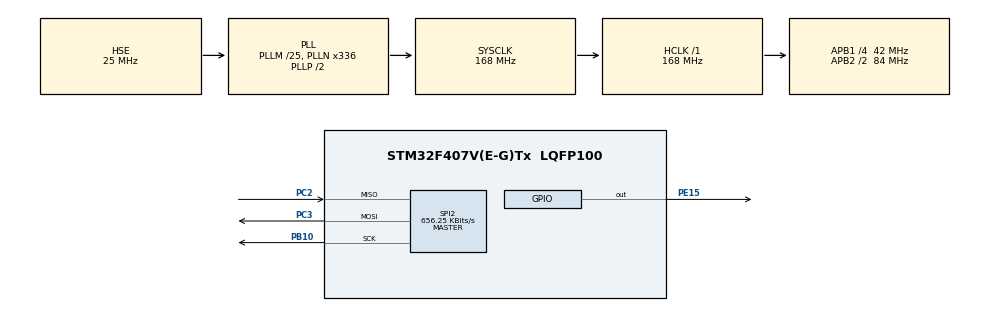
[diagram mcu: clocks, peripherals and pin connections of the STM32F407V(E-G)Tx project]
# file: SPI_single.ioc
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Mcu.Family=STM32F4
Mcu.Name=STM32F407V(E-G)Tx
Mcu.Package=LQFP100
NVIC.PriorityGroup=NVIC_PRIORITYGROUP_4
PB10.Mode=Full_Duplex_Master
PB10.Signal=SPI2_SCK
PC2.Mode=Full_Duplex_Master
PC2.Signal=SPI2_MISO
PC3.Mode=Full_Duplex_Master
PC3.Signal=SPI2_MOSI
PE15.PinState=GPIO_PIN_SET
PE15.Signal=GPIO_Output
PH0-OSC_IN.Mode=HSE-External-Oscillator
PH0-OSC_IN.Signal=RCC_OSC_IN
PH1-OSC_OUT.Mode=HSE-External-Oscillator
PH1-OSC_OUT.Signal=RCC_OSC_OUT
ProjectManager.HeapSize=0x200
ProjectManager.StackSize=0x400
ProjectManager.TargetToolchain=MDK-ARM V5.27
RCC.48MHZClocksFreq_Value=84000000
RCC.AHBFreq_Value=168000000
RCC.APB1CLKDivider=RCC_HCLK_DIV4
RCC.APB1Freq_Value=42000000
RCC.APB1TimFreq_Value=84000000
RCC.APB2CLKDivider=RCC_HCLK_DIV2
RCC.APB2Freq_Value=84000000
RCC.APB2TimFreq_Value=168000000
RCC.CortexFreq_Value=168000000
RCC.HCLKFreq_Value=168000000
RCC.HSE_VALUE=25000000
RCC.HSI_VALUE=16000000
RCC.LSE_VALUE=32768
RCC.PLLM=25
RCC.PLLN=336
RCC.PLLSourceVirtual=RCC_PLLSOURCE_HSE
RCC.SYSCLKFreq_VALUE=168000000
RCC.SYSCLKSource=RCC_SYSCLKSOURCE_PLLCLK
RCC.VCOOutputFreq_Value=336000000
SPI2.BaudRatePrescaler=SPI_BAUDRATEPRESCALER_64
SPI2.CLKPhase=SPI_PHASE_2EDGE
SPI2.CLKPolarity=SPI_POLARITY_HIGH
SPI2.CalculateBaudRate=656.25 KBits/s
SPI2.Direction=SPI_DIRECTION_2LINES
SPI2.Mode=SPI_MODE_MASTER
SPI2.VirtualType=VM_MASTER
board=custom

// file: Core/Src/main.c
/* USER CODE BEGIN Header */
/**
  ******************************************************************************
  * @file           : main.c
  * @brief          : Main program body
  ******************************************************************************
  * @attention
  *
  * <h2><center>&copy; Copyright (c) 2021 STMicroelectronics.
  * All rights reserved.</center></h2>
  *
  * This software component is licensed by ST under BSD 3-Clause license,
  * the "License"; You may not use this file except in compliance with the
  * License. You may obtain a copy of the License at:
  *                        opensource.org/licenses/BSD-3-Clause
  *
  ******************************************************************************
  */
/* USER CODE END Header */
#include "main.h"
#include "spi.h"
#include "gpio.h"

/* USER CODE BEGIN PV */
uint8_t data_rec[6];

int16_t x, y, z;
float xg, yg, zg;

/* USER CODE END PV */

void SystemClock_Config(void);
/* USER CODE BEGIN PFP */
void adxl_write(uint8_t address, uint8_t value);
void adxl_read(uint8_t address);
void adxl_init();
/* USER CODE END PFP */

/* USER CODE BEGIN 0 */
void adxl_write(uint8_t address, uint8_t value)
{
	uint8_t data[2];
	data[0] = address|0x40;	//Multibyte write enabled
	data[1] = value;
	HAL_GPIO_WritePin(GPIOE, GPIO_PIN_15, GPIO_PIN_RESET);	//Pull CS pin low to enable transmission
	HAL_SPI_Transmit(&hspi2, data, 2, 100);	//Transmit address and data
	HAL_GPIO_WritePin(GPIOE, GPIO_PIN_15, GPIO_PIN_SET);	//Pull CS pin high  to close transmission
}

void adxl_read(uint8_t address)
{
	address |= 0x80;	//read operation
	address |= 0x40;	//multibyte read
	HAL_GPIO_WritePin(GPIOE, GPIO_PIN_15, GPIO_PIN_RESET);
	HAL_SPI_Transmit(&hspi2, &address, 1, 100);	//**
	HAL_SPI_Receive(&hspi2, data_rec, 6, 100);
	HAL_GPIO_WritePin(GPIOE, GPIO_PIN_15, GPIO_PIN_SET);
}

void adxl_init()
{
	adxl_write(0x31, 0x01);
	adxl_write(0x2d, 0x00);
	adxl_write(0x2d, 0x08);
}

/* USER CODE END 0 */

int main(void)
{

  /* MCU Configuration--------------------------------------------------------*/

  /* Reset of all peripherals, Initializes the Flash interface and the Systick. */
  HAL_Init();

  /* Configure the system clock */
  SystemClock_Config();

  /* Initialize all configured peripherals */
  MX_GPIO_Init();
  MX_SPI2_Init();
  /* USER CODE BEGIN 2 */
	adxl_init();

  /* USER CODE END 2 */

  /* Infinite loop */
  while (1)
  {

    /* USER CODE BEGIN 3 */
		adxl_read(0x32);
		x = ((data_rec[1] << 8) | data_rec[0]);
		y = ((data_rec[3] << 8) | data_rec[2]);
		z = ((data_rec[5] << 8) | data_rec[4]);

		xg = x * 0.0078;
		yg = y * 0.0078;
		zg = z * 0.0078;

		HAL_Delay(100);
  }
  /* USER CODE END 3 */
}

void SystemClock_Config(void)
{
  RCC_OscInitTypeDef RCC_OscInitStruct = {0};
  RCC_ClkInitTypeDef RCC_ClkInitStruct = {0};

  /** Configure the main internal regulator output voltage
  */
  __HAL_RCC_PWR_CLK_ENABLE();
  __HAL_PWR_VOLTAGESCALING_CONFIG(PWR_REGULATOR_VOLTAGE_SCALE1);
  /** Initializes the RCC Oscillators according to the specified parameters
  * in the RCC_OscInitTypeDef structure.
  */
  RCC_OscInitStruct.OscillatorType = RCC_OSCILLATORTYPE_HSE;
  RCC_OscInitStruct.HSEState = RCC_HSE_ON;
  RCC_OscInitStruct.PLL.PLLState = RCC_PLL_ON;
  RCC_OscInitStruct.PLL.PLLSource = RCC_PLLSOURCE_HSE;
  RCC_OscInitStruct.PLL.PLLM = 25;
  RCC_OscInitStruct.PLL.PLLN = 336;
  RCC_OscInitStruct.PLL.PLLP = RCC_PLLP_DIV2;
  RCC_OscInitStruct.PLL.PLLQ = 4;
  if (HAL_RCC_OscConfig(&RCC_OscInitStruct) != HAL_OK)
  {
    Error_Handler();
  }
  /** Initializes the CPU, AHB and APB buses clocks
  */
  RCC_ClkInitStruct.ClockType = RCC_CLOCKTYPE_HCLK|RCC_CLOCKTYPE_SYSCLK
                              |RCC_CLOCKTYPE_PCLK1|RCC_CLOCKTYPE_PCLK2;
  RCC_ClkInitStruct.SYSCLKSource = RCC_SYSCLKSOURCE_PLLCLK;
  RCC_ClkInitStruct.AHBCLKDivider = RCC_SYSCLK_DIV1;
  RCC_ClkInitStruct.APB1CLKDivider = RCC_HCLK_DIV4;
  RCC_ClkInitStruct.APB2CLKDivider = RCC_HCLK_DIV2;

  if (HAL_RCC_ClockConfig(&RCC_ClkInitStruct, FLASH_LATENCY_5) != HAL_OK)
  {
    Error_Handler();
  }
}

void Error_Handler(void)
{
  __disable_irq();
  while (1)
  {
  }
}

/************************ (C) COPYRIGHT STMicroelectronics *****END OF FILE****/
